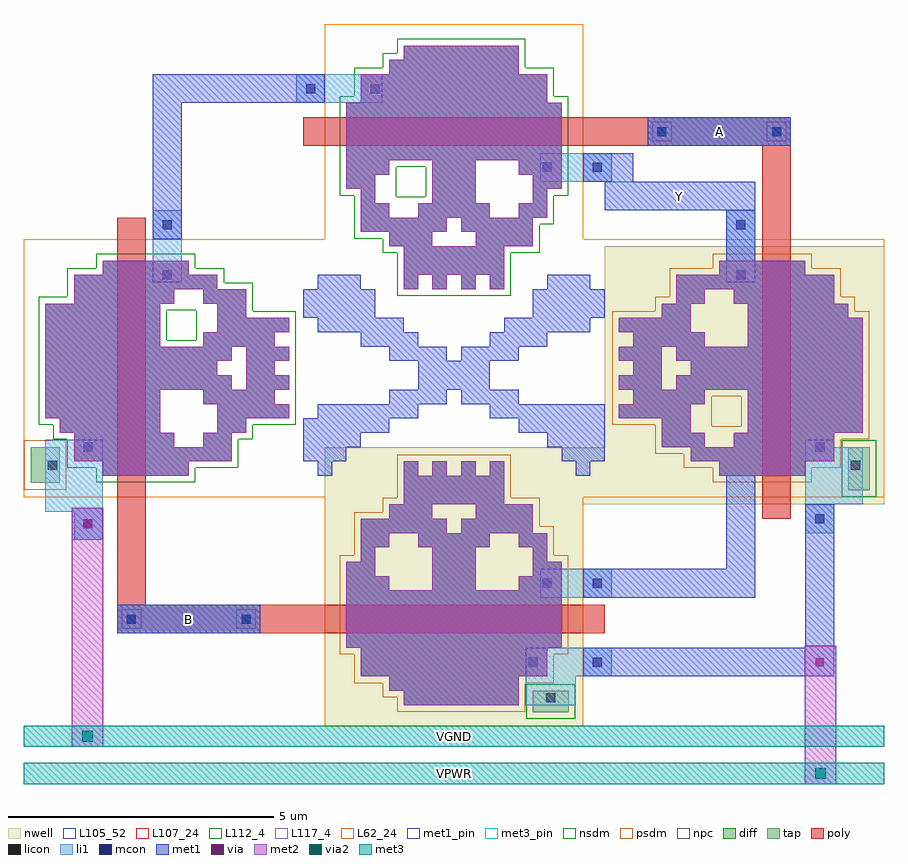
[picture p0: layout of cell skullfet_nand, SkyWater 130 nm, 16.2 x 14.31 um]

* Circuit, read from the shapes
.subckt skullfet_nand A B VGND VPWR Y
XM1 n1 B VGND VGND sky130_fd_pr__nfet_01v8 w=4.05 l=0.54
XM2 n1 A Y VGND sky130_fd_pr__nfet_01v8 w=4.05 l=0.54
XM3 Y B VPWR VPWR sky130_fd_pr__pfet_01v8 w=4.05 l=0.54
XM4 VPWR A Y VPWR sky130_fd_pr__pfet_01v8 w=4.05 l=0.54
.ends

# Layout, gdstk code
import gdstk
lib = gdstk.Library(unit=1e-6, precision=1e-09)
def R(c, l, rs):  # rectangles x0, y0, x1, y1
    for r in rs: c.add(gdstk.rectangle(r[:2], r[2:], *l))
def A(c, l, x, y, w, h, nx, ny, dx, dy):  # array of equal rectangles
    R(c, l, [(x+i*dx, y+j*dy, x+i*dx+w, y+j*dy+h) for i in range(nx) for j in range(ny)])
L62_24 = (62, 24)
nwell = (64, 20)
diff = (65, 20)
tap = (65, 44)
poly = (66, 20)
licon = (66, 44)
li1 = (67, 20)
mcon = (67, 44)
met1_pin = (68, 16)
met1 = (68, 20)
via = (68, 44)
met2 = (69, 20)
via2 = (69, 44)
met3_pin = (70, 16)
met3 = (70, 20)
nsdm = (93, 44)
psdm = (94, 20)
npc = (95, 20)
L105_52 = (105, 52)
L107_24 = (107, 24)
L112_4 = (112, 4)
L117_4 = (117, 4)

skullfet_nand = lib.new_cell('skullfet_nand')
R(skullfet_nand, L62_24, [(5.67,1.08,10.53,5.4), (0,5.4,16.2,10.26), (5.67,10.26,10.53,14.31)])
R(skullfet_nand, nwell, [(5.67,1.08,10.53,5.265), (5.67,5.265,16.2,6.345), (10.935,6.345,16.2,10.125)])
A(skullfet_nand, diff, 7.155, 5.805, 0.27, 0.27, 4, 2, 0.54, 3.51)
R(skullfet_nand, diff, [(7.155,1.485,9.315,1.755), (6.885,1.755,9.315,2.025), (6.345,2.025,9.855,2.565), (6.075,2.565,10.125,3.645), (6.075,3.645,6.885,3.915), (7.695,3.645,8.505,4.455), (9.315,3.645,10.125,3.915), (6.075,3.915,6.615,4.185), (9.585,3.915,10.125,4.185), (6.345,4.185,6.615,4.455), (9.585,4.185,9.855,4.455), (6.345,4.455,6.885,4.725), (7.425,4.455,8.775,4.725), (9.315,4.455,9.855,4.725), (6.345,4.725,7.965,4.995), (8.235,4.725,9.585,4.995), (6.885,4.995,7.695,5.265), (8.505,4.995,9.585,5.265), (7.155,5.265,9.045,5.805), (1.485,5.805,3.105,6.075), (13.095,5.805,14.715,6.075), (0.945,6.075,3.915,6.345), (12.555,6.075,15.255,6.345), (0.945,6.345,2.835,6.615), (3.375,6.345,3.915,6.615), (12.015,6.345,12.825,6.615), (13.365,6.345,15.255,6.615), (0.675,6.615,2.565,6.885), (3.645,6.615,4.185,6.885), (12.015,6.615,12.555,6.885), (13.635,6.615,15.795,7.425), (0.405,6.885,2.565,7.425), (3.645,6.885,4.995,7.155), (11.205,6.885,12.555,7.155), (3.375,7.155,4.725,7.425), (11.475,7.155,12.825,7.425), (0.405,7.425,3.915,7.695), (4.185,7.425,4.995,7.695), (11.205,7.425,12.015,7.695), (12.285,7.425,15.795,7.695), (0.405,7.695,3.645,7.965), (4.185,7.695,4.725,7.965), (11.475,7.695,12.015,7.965), (12.555,7.695,15.795,7.965), (0.405,7.965,3.915,8.235), (4.185,7.965,4.995,8.235), (11.205,7.965,12.015,8.235), (12.285,7.965,15.795,8.235), (0.405,8.235,2.565,9.045), (3.375,8.235,4.725,8.505), (11.475,8.235,12.825,8.505), (13.635,8.235,15.795,8.775), (3.645,8.505,4.995,8.775), (11.205,8.505,12.555,8.775), (3.645,8.775,4.185,9.045), (12.015,8.775,12.555,9.045), (13.635,8.775,15.525,9.045), (0.945,9.045,2.835,9.315), (3.375,9.045,4.185,9.315), (12.285,9.045,12.825,9.315), (13.365,9.045,15.255,9.315), (0.945,9.315,3.645,9.585), (12.285,9.315,15.255,9.585), (1.485,9.585,3.105,9.855), (7.155,9.585,9.045,10.125), (13.095,9.585,14.715,9.855), (6.885,10.125,7.695,10.395), (8.505,10.125,9.585,10.395), (6.345,10.395,7.965,10.665), (8.235,10.395,9.585,10.665), (6.345,10.665,6.885,10.935), (7.425,10.665,8.775,10.935), (9.315,10.665,9.855,10.935), (6.345,10.935,6.615,11.205), (7.695,10.935,8.505,11.745), (9.585,10.935,9.855,11.205), (6.075,11.205,6.615,11.475), (9.585,11.205,10.125,11.475), (6.075,11.475,6.885,11.745), (9.315,11.475,10.125,11.745), (6.075,11.745,10.125,12.825), (6.345,12.825,9.855,13.365), (6.885,13.365,9.315,13.635), (7.155,13.635,9.315,13.905)])
R(skullfet_nand, tap, [(9.585,1.35,10.26,1.755), (15.525,5.535,15.93,6.345), (0.135,5.67,0.675,6.345)])
R(skullfet_nand, poly, [(1.755,2.835,10.935,3.375), (1.755,3.375,2.295,10.665), (13.905,4.995,14.445,12.015), (5.265,12.015,14.445,12.555)])
R(skullfet_nand, licon, [(9.835,1.535,10.005,1.705), (9.5,2.21,9.67,2.38), (1.94,3.02,2.11,3.19), (4.1,3.02,4.27,3.19), (9.77,3.695,9.94,3.865), (0.455,5.92,0.625,6.09), (15.575,5.92,15.745,6.09), (1.13,6.26,1.3,6.43), (14.9,6.26,15.07,6.43), (2.615,9.5,2.785,9.67), (13.415,9.5,13.585,9.67), (9.77,11.525,9.94,11.695), (11.93,12.2,12.1,12.37), (14.09,12.2,14.26,12.37), (6.53,13.01,6.7,13.18)])
R(skullfet_nand, li1, [(9.45,1.485,10.395,2.025), (9.45,2.025,11.07,2.565), (1.755,2.835,4.455,3.375), (9.72,3.51,11.07,4.05), (0.945,4.6,1.485,5.13), (14.715,4.725,15.255,5.265), (0.405,5.13,1.485,6.48), (14.715,5.265,15.795,6.345), (14.715,6.345,15.255,6.48), (2.43,9.45,2.97,10.8), (13.23,9.45,13.77,10.8), (9.72,11.34,11.07,11.88), (11.745,12.015,14.445,12.555), (5.13,12.825,6.75,13.365)])
R(skullfet_nand, mcon, [(10.715,2.21,10.885,2.38), (1.94,3.02,2.11,3.19), (4.1,3.02,4.27,3.19), (10.715,3.695,10.885,3.865), (1.115,4.815,1.285,4.985), (14.9,4.91,15.07,5.08), (2.615,10.445,2.785,10.615), (13.415,10.445,13.585,10.615), (10.715,11.525,10.885,11.695), (11.93,12.2,12.1,12.37), (14.09,12.2,14.26,12.37), (5.315,13.01,5.485,13.18)])
R(skullfet_nand, met1_pin, [(1.755,2.835,4.455,3.375), (10.935,10.8,13.77,11.34), (11.745,12.015,14.445,12.555)])
A(skullfet_nand, met1, 7.155, 5.805, 0.27, 0.27, 4, 2, 0.54, 3.51)
R(skullfet_nand, met1, [(7.155,1.485,9.315,1.755), (6.885,1.755,9.315,2.025), (6.345,2.025,9.855,2.565), (10.53,2.025,15.255,2.565), (6.075,2.565,10.125,3.645), (14.715,2.565,15.255,5.265), (1.755,2.835,4.455,3.375), (10.53,3.51,13.77,4.05), (6.075,3.645,6.885,3.915), (7.695,3.645,8.505,4.455), (9.315,3.645,10.125,3.915), (6.075,3.915,6.615,4.185), (9.585,3.915,10.125,4.185), (13.23,4.05,13.77,5.805), (6.345,4.185,6.615,4.455), (9.585,4.185,9.855,4.455), (6.345,4.455,6.885,4.725), (7.425,4.455,8.775,4.725), (9.315,4.455,9.855,4.725), (0.9,4.6,1.5,5.2), (6.345,4.725,7.965,4.995), (8.235,4.725,9.585,4.995), (6.885,4.995,7.695,5.265), (8.505,4.995,9.585,5.265), (7.155,5.265,9.045,5.805), (1.485,5.805,3.105,6.075), (5.535,5.805,5.805,6.075), (10.395,5.805,10.665,6.075), (13.095,5.805,14.715,6.075), (0.945,6.075,3.915,6.345), (5.265,6.075,6.075,6.345), (10.125,6.075,10.935,6.345), (12.555,6.075,15.255,6.345), (0.945,6.345,2.835,6.615), (3.375,6.345,3.915,6.615), (5.265,6.345,6.345,6.615), (9.855,6.345,10.935,6.615), (12.015,6.345,12.825,6.615), (13.365,6.345,15.255,6.615), (0.675,6.615,2.565,6.885), (3.645,6.615,4.185,6.885), (5.265,6.615,6.885,6.885), (9.315,6.615,10.935,6.885), (12.015,6.615,12.555,6.885), (13.635,6.615,15.795,7.425), (0.405,6.885,2.565,7.425), (3.645,6.885,4.995,7.155), (5.535,6.885,7.425,7.155), (8.775,6.885,10.935,7.155), (11.205,6.885,12.555,7.155), (3.375,7.155,4.725,7.425), (6.885,7.155,7.965,7.425), (8.235,7.155,9.315,7.425), (11.475,7.155,12.825,7.425), (0.405,7.425,3.915,7.695), (4.185,7.425,4.995,7.695), (7.425,7.425,8.775,7.965), (11.205,7.425,12.015,7.695), (12.285,7.425,15.795,7.695), (0.405,7.695,3.645,7.965), (4.185,7.695,4.725,7.965), (11.475,7.695,12.015,7.965), (12.555,7.695,15.795,7.965), (0.405,7.965,3.915,8.235), (4.185,7.965,4.995,8.235), (6.885,7.965,7.965,8.235), (8.235,7.965,9.315,8.235), (11.205,7.965,12.015,8.235), (12.285,7.965,15.795,8.235), (0.405,8.235,2.565,9.045), (3.375,8.235,4.725,8.505), (6.345,8.235,7.425,8.505), (8.775,8.235,9.855,8.505), (11.475,8.235,12.825,8.505), (13.635,8.235,15.795,8.775), (3.645,8.505,4.995,8.775), (5.535,8.505,7.155,8.775), (9.045,8.505,10.665,8.775), (11.205,8.505,12.555,8.775), (3.645,8.775,4.185,9.045), (5.265,8.775,6.615,9.315), (9.585,8.775,10.935,9.315), (12.015,8.775,12.555,9.045), (13.635,8.775,15.525,9.045), (0.945,9.045,2.835,9.315), (3.375,9.045,4.185,9.315), (12.285,9.045,12.825,9.315), (13.365,9.045,15.255,9.315), (0.945,9.315,3.645,9.585), (5.535,9.315,6.345,9.585), (9.855,9.315,10.665,9.585), (12.285,9.315,15.255,9.585), (1.485,9.585,3.105,9.855), (7.155,9.585,9.045,10.125), (13.095,9.585,14.715,9.855), (13.23,9.855,13.77,10.8), (6.885,10.125,7.695,10.395), (8.505,10.125,9.585,10.395), (2.43,10.26,2.97,12.825), (6.345,10.395,7.965,10.665), (8.235,10.395,9.585,10.665), (6.345,10.665,6.885,10.935), (7.425,10.665,8.775,10.935), (9.315,10.665,9.855,10.935), (10.935,10.8,13.77,11.34), (6.345,10.935,6.615,11.205), (7.695,10.935,8.505,11.745), (9.585,10.935,9.855,11.205), (6.075,11.205,6.615,11.475), (9.585,11.205,10.125,11.475), (10.53,11.34,11.475,11.88), (6.075,11.475,6.885,11.745), (9.315,11.475,10.125,11.745), (6.075,11.745,10.125,12.825), (11.745,12.015,14.445,12.555), (2.43,12.825,5.67,13.365), (6.345,12.825,9.855,13.365), (6.885,13.365,9.315,13.635), (7.155,13.635,9.315,13.905)])
R(skullfet_nand, via, [(14.91,2.22,15.06,2.37), (1.125,4.825,1.275,4.975)])
A(skullfet_nand, met2, 7.155, 5.805, 0.27, 0.27, 4, 2, 0.54, 3.51)
R(skullfet_nand, met2, [(14.7,0,15.3,2.6), (0.9,0.7,1.5,5.2), (7.155,1.485,9.315,1.755), (6.885,1.755,9.315,2.025), (6.345,2.025,9.855,2.565), (6.075,2.565,10.125,3.645), (6.075,3.645,6.885,3.915), (7.695,3.645,8.505,4.455), (9.315,3.645,10.125,3.915), (6.075,3.915,6.615,4.185), (9.585,3.915,10.125,4.185), (6.345,4.185,6.615,4.455), (9.585,4.185,9.855,4.455), (6.345,4.455,6.885,4.725), (7.425,4.455,8.775,4.725), (9.315,4.455,9.855,4.725), (6.345,4.725,7.965,4.995), (8.235,4.725,9.585,4.995), (6.885,4.995,7.695,5.265), (8.505,4.995,9.585,5.265), (7.155,5.265,9.045,5.805), (1.485,5.805,3.105,6.075), (13.095,5.805,14.715,6.075), (0.945,6.075,3.915,6.345), (12.555,6.075,15.255,6.345), (0.945,6.345,2.835,6.615), (3.375,6.345,3.915,6.615), (12.015,6.345,12.825,6.615), (13.365,6.345,15.255,6.615), (0.675,6.615,2.565,6.885), (3.645,6.615,4.185,6.885), (12.015,6.615,12.555,6.885), (13.635,6.615,15.795,7.425), (0.405,6.885,2.565,7.425), (3.645,6.885,4.995,7.155), (11.205,6.885,12.555,7.155), (3.375,7.155,4.725,7.425), (11.475,7.155,12.825,7.425), (0.405,7.425,3.915,7.695), (4.185,7.425,4.995,7.695), (11.205,7.425,12.015,7.695), (12.285,7.425,15.795,7.695), (0.405,7.695,3.645,7.965), (4.185,7.695,4.725,7.965), (11.475,7.695,12.015,7.965), (12.555,7.695,15.795,7.965), (0.405,7.965,3.915,8.235), (4.185,7.965,4.995,8.235), (11.205,7.965,12.015,8.235), (12.285,7.965,15.795,8.235), (0.405,8.235,2.565,9.045), (3.375,8.235,4.725,8.505), (11.475,8.235,12.825,8.505), (13.635,8.235,15.795,8.775), (3.645,8.505,4.995,8.775), (11.205,8.505,12.555,8.775), (3.645,8.775,4.185,9.045), (12.015,8.775,12.555,9.045), (13.635,8.775,15.525,9.045), (0.945,9.045,2.835,9.315), (3.375,9.045,4.185,9.315), (12.285,9.045,12.825,9.315), (13.365,9.045,15.255,9.315), (0.945,9.315,3.645,9.585), (12.285,9.315,15.255,9.585), (1.485,9.585,3.105,9.855), (7.155,9.585,9.045,10.125), (13.095,9.585,14.715,9.855), (6.885,10.125,7.695,10.395), (8.505,10.125,9.585,10.395), (6.345,10.395,7.965,10.665), (8.235,10.395,9.585,10.665), (6.345,10.665,6.885,10.935), (7.425,10.665,8.775,10.935), (9.315,10.665,9.855,10.935), (6.345,10.935,6.615,11.205), (7.695,10.935,8.505,11.745), (9.585,10.935,9.855,11.205), (6.075,11.205,6.615,11.475), (9.585,11.205,10.125,11.475), (6.075,11.475,6.885,11.745), (9.315,11.475,10.125,11.745), (6.075,11.745,10.125,12.825), (6.345,12.825,9.855,13.365), (6.885,13.365,9.315,13.635), (7.155,13.635,9.315,13.905)])
R(skullfet_nand, via2, [(14.9,0.1,15.1,0.3), (1.1,0.8,1.3,1)])
R(skullfet_nand, met3_pin, [(0,0,16.2,0.4), (0,0.7,16.2,1.1)])
R(skullfet_nand, met3, [(0,0,16.2,0.4), (0,0.7,16.2,1.1)])
R(skullfet_nand, nsdm, [(9.46,1.225,10.385,1.88), (15.4,5.41,16.055,6.47), (1.36,5.68,3.23,5.95), (0.82,5.95,4.04,6.49), (0.55,6.49,4.31,6.76), (0.28,6.76,5.12,8.36), (0.28,8.36,2.69,8.92), (3.25,8.36,5.12,8.9), (3.25,8.9,4.31,8.92), (0.28,8.92,4.31,9.17), (0.82,9.17,4.31,9.44), (7.03,9.19,9.17,10), (0.82,9.44,3.77,9.71), (1.36,9.71,3.23,9.98), (6.76,10,9.71,10.27), (6.22,10.27,9.71,10.54), (6.22,10.54,9.98,11.06), (6.22,11.06,7.01,11.08), (7.57,11.06,9.98,11.08), (5.95,11.08,7.01,11.62), (7.57,11.08,10.25,11.62), (5.95,11.62,10.25,12.95), (6.22,12.95,9.98,13.49), (6.76,13.49,9.44,13.76), (7.03,13.76,9.44,14.03)])
R(skullfet_nand, psdm, [(7.03,1.36,9.44,1.63), (6.76,1.63,9.44,1.9), (6.22,1.9,9.98,2.44), (5.95,2.44,10.25,4.31), (6.22,4.31,9.98,4.85), (6.22,4.85,9.71,5.12), (6.76,5.12,9.71,5.39), (7.03,5.39,9.17,6.2), (0.01,5.545,0.8,6.47), (12.97,5.68,14.84,5.95), (12.43,5.95,15.38,6.22), (11.89,6.22,15.38,6.49), (11.89,6.49,15.92,6.74), (11.89,6.74,12.95,6.76), (13.51,6.74,15.92,7.3), (11.08,6.76,12.95,7.3), (11.08,7.3,15.92,8.9), (11.89,8.9,15.65,9.17), (12.16,9.17,15.38,9.71), (12.97,9.71,14.84,9.98)])
R(skullfet_nand, npc, [(1.84,2.92,2.21,3.29), (4,2.92,4.37,3.29), (11.83,12.1,12.2,12.47), (13.99,12.1,14.36,12.47)])
R(skullfet_nand, L105_52, [(5.67,1.08,10.53,5.4), (0,5.4,16.2,10.26), (5.67,10.26,10.53,14.31)])
R(skullfet_nand, L107_24, [(5.67,1.08,10.53,5.4), (0,5.4,16.2,10.26), (5.67,10.26,10.53,14.31)])
R(skullfet_nand, L112_4, [(5.67,1.08,10.53,5.4), (0,5.4,16.2,10.26), (5.67,10.26,10.53,14.31)])
R(skullfet_nand, L117_4, [(5.67,1.08,10.53,5.4), (0,5.4,16.2,10.26), (5.67,10.26,10.53,14.31)])
skullfet_nand.add(gdstk.Label('A', (13.095,12.285), layer=68, texttype=5))
skullfet_nand.add(gdstk.Label('B', (3.105,3.105), layer=68, texttype=5))
skullfet_nand.add(gdstk.Label('Y', (12.352,11.07), layer=68, texttype=5))
skullfet_nand.add(gdstk.Label('VPWR', (8.1,0.2), layer=70, texttype=5))
skullfet_nand.add(gdstk.Label('VGND', (8.1,0.9), layer=70, texttype=5))

lib.write_gds('skullfet_nand.gds')
